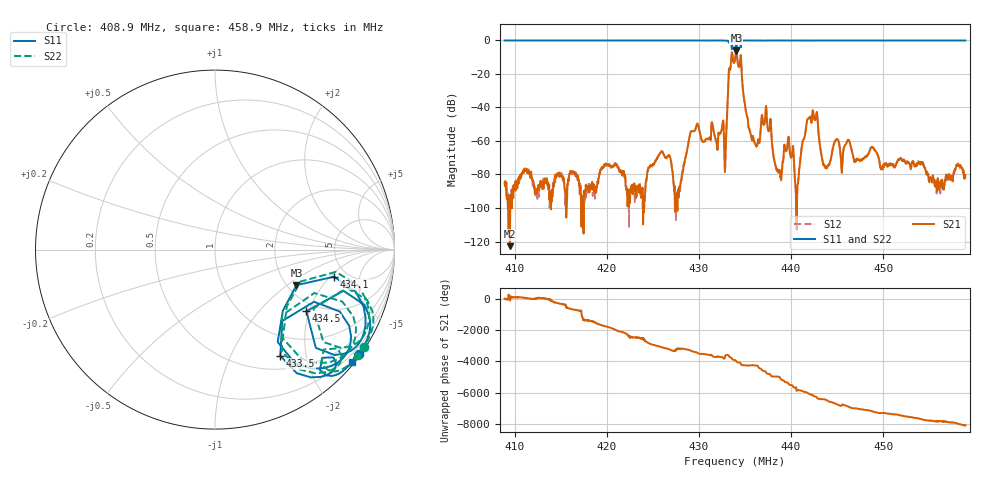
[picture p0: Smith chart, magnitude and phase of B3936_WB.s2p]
! Matrix data file written by TouchstoneData, EPCOS AG
! FILENAME: "B3936_WB.s2p"
! COMMENT: "(LY28A_MB.s2p) EPCOS AG 11.11.10 09:57:13"
! INFO: nport=2, nfreq=1601
! DATE: "Tue Apr 19 08:51:09 2011"
! USER: "Wilfried Schott"
! port | pin | signal
!  1  |  1  |  in
!  2  |  4  |  out
# MHZ S MA R 50
! freq  magS11 angS11  magS21 angS21  magS12 angS12  magS22 angS22
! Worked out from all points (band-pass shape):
!   1601 points, 408.9 MHz to 458.9 MHz, reference 50 ohm
!   highest |S21| = -6.02 dB at 434.1 MHz (marker M1); lowest = -122.8 dB at 409.5 MHz (marker M2)
!   |S21| within 3 dB of the highest: 433.5415 MHz to 433.6408 MHz (99.31 kHz wide, 0.0229 % of centre); 433.9693 MHz to 434.1356 MHz (166.2 kHz wide, 0.0383 % of centre) (the widest 2 of 3)
!   lowest |S11| = -6.1 dB at 434.1 MHz (marker M3), VSWR 2.96, Z = 112 - j58.7 ohm
!   |S11| at or under -10 dB: nowhere
!   |S22| runs from -5.9 to -0.1 dB; largest |S21 - S12| = 0.0023
!   S11 on the Smith chart (normalised r, x): 408.9 MHz: 0.05, -3.09; 433.5 MHz: 0.68, -1.57; 434.1 MHz: 3.95, -2.22; 434.5 MHz: 1.73, -1.92; 458.9 MHz: 0.05, -2.78
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408.92  0.99 -35.8  5.744e-05 14.9  6.334e-05 4.1  0.9908 -33.3
409.4825  0.9905 -35.9  7.269e-07 11.1  3.913e-06 -78.2  0.9911 -33.4
417.2638  0.9893 -36.7  2.759e-06 157.9  1.827e-05 -44.3  0.9903 -34.0
425.6075  0.989 -37.7  0.0003619 -155.9  0.0003543 -155.1  0.9889 -35.1
427.9513  0.9899 -38.1  3.609e-05 40.5  3.103e-05 28.2  0.9901 -35.5
429.7325  0.9859 -38.7  0.002827 175.7  0.00284 175.6  0.9861 -36.1
432.7638  0.9852 -42.1  0.0005286 141.1  0.0005351 142.8  0.9851 -39.6
433.545  0.6949 -58.4  0.3657 169.4  0.3653 169.5  0.6821 -56.8
433.92  0.8953 -47.6  0.271 34.7  0.2709 34.8  0.8961 -44.4
434.0763  0.4954 -23.6  0.5001 -45.7  0.5007 -45.5  0.5083 -20.5
434.1075  0.6806 -12.8  0.4406 -71.3  0.4404 -71.4  0.6848 -10.4
434.545  0.6145 -34.0  0.3625 160.8  0.364 160.8  0.6395 -30.9
435.6075  0.9901 -34.8  0.001672 58.4  0.001673 58.6  0.9903 -32.2
437.5138  0.9888 -36.6  0.002105 -116.5  0.002098 -116.1  0.9895 -34.0
438.7325  0.9886 -37.2  0.0001369 41.7  0.0001304 35.2  0.9899 -34.6
439.545  0.9883 -37.5  0.0005582 48.9  0.0005329 46.4  0.9899 -34.9
440.67  0.9893 -37.6  3.245e-05 -78.5  1.928e-05 -103.7  0.99 -35.0
442.2638  0.9852 -38.0  0.004107 -13.7  0.004111 -14.1  0.986 -35.3
443.7325  0.988 -38.1  0.000162 29.1  0.0001578 28.3  0.9886 -35.5
444.9513  0.9873 -38.2  0.001133 98.5  0.001117 97.6  0.9886 -35.5
450.6075  0.9863 -38.7  0.0001972 -152.0  0.0001923 -146.1  0.9875 -36.2
458.92  0.9879 -39.5  9.496e-05 179.1  6.542e-05 179.3  0.9892 -36.9
